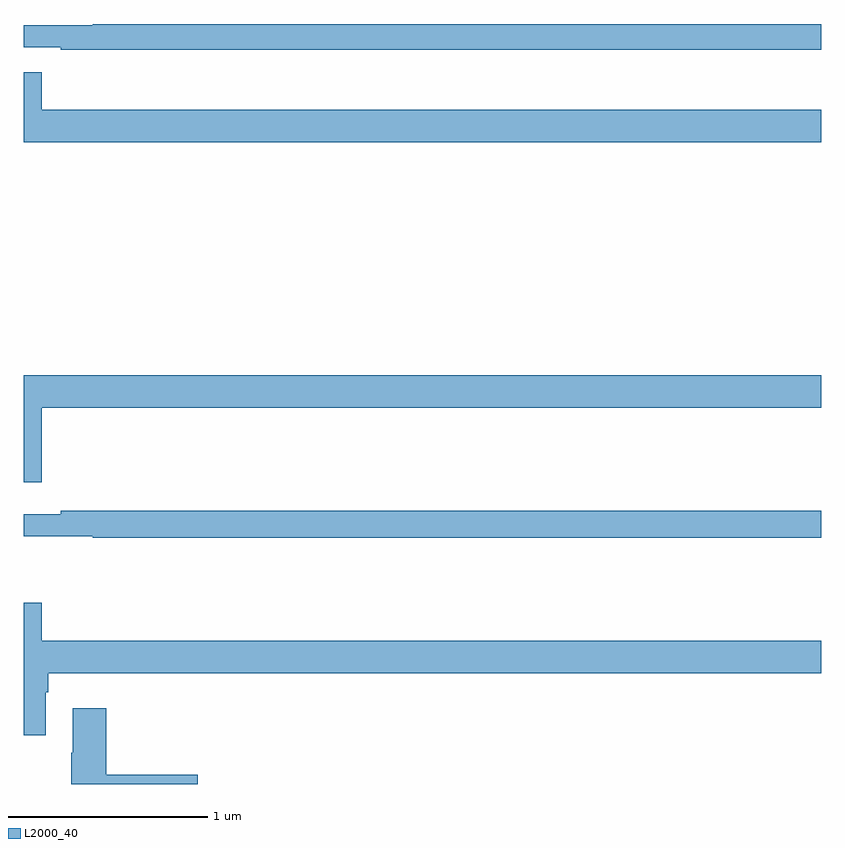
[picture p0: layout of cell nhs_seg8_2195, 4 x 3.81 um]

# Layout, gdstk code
import gdstk
lib = gdstk.Library(unit=1e-6, precision=1e-09)
def P(c, l, *ps):  # polygons
    for p in ps: c.add(gdstk.Polygon(p, *l))
L2000_40 = (2000, 40)

nhs_seg8_2195 = lib.new_cell('nhs_seg8_2195')
P(nhs_seg8_2195, L2000_40, [(253,1163.714),(249.345,1163.714),(249.345,1163.707),(249,1163.707),(249,1163.598),(249.184,1163.598),(249.184,1163.586),(253,1163.586)],
  [(253,1163.284),(249.088,1163.284),(249.088,1163.473),(249,1163.473),(249,1163.12),(253,1163.12)],
  [(249.088,1161.788),(253,1161.788),(253,1161.952),(249,1161.952),(249,1161.414),(249.088,1161.414)],
  [(253,1161.272),(249.184,1161.272),(249.184,1161.253),(249,1161.253),(249,1161.144),(249.345,1161.144),(249.345,1161.136),(253,1161.136)],
  [(249.109,1160.36),(249.122,1160.36),(249.122,1160.456),(253,1160.456),(253,1160.62),(249.088,1160.62),(249.088,1160.809),(249,1160.809),(249,1160.145),(249.109,1160.145)],
  [(249.871,1159.946),(249.413,1159.946),(249.413,1160.281),(249.245,1160.281),(249.245,1160.057),(249.238,1160.057),(249.238,1159.9),(249.871,1159.9)])

lib.write_gds('nhs_seg8_2195.gds')
